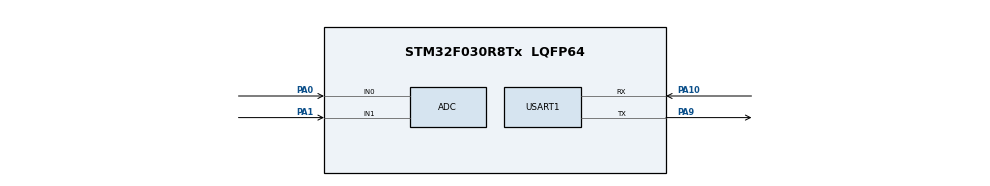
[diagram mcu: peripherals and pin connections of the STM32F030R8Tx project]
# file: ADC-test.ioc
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ADC.EOCSelection=ADC_EOC_SINGLE_CONV
ADC.SamplingTime=ADC_SAMPLETIME_41CYCLES_5
Mcu.Family=STM32F0
Mcu.Name=STM32F030R8Tx
Mcu.Package=LQFP64
PA0.Mode=IN0
PA0.Signal=ADC_IN0
PA1.Mode=IN1
PA1.Signal=ADC_IN1
PA10.Mode=Asynchronous
PA10.Signal=USART1_RX
PA13.Mode=Serial_Wire
PA13.Signal=SYS_SWDIO
PA14.Mode=Serial_Wire
PA14.Signal=SYS_SWCLK
PA9.Mode=Asynchronous
PA9.Signal=USART1_TX
ProjectManager.HeapSize=0x200
ProjectManager.StackSize=0x400
ProjectManager.TargetToolchain=SW4STM32
USART1.OverrunDisableParam=UART_ADVFEATURE_OVERRUN_DISABLE
USART1.VirtualMode-Asynchronous=VM_ASYNC
VP_ADC_TempSens_Input.Mode=IN-TempSens
board=ADC-test

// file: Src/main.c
/**
  ******************************************************************************
  * File Name          : main.c
  * Description        : Main program body
  ******************************************************************************
  *
  * COPYRIGHT(c) 2017 STMicroelectronics
  *
  * Redistribution and use in source and binary forms, with or without modification,
  * are permitted provided that the following conditions are met:
  *   1. Redistributions of source code must retain the above copyright notice,
  *      this list of conditions and the following disclaimer.
  *   2. Redistributions in binary form must reproduce the above copyright notice,
  *      this list of conditions and the following disclaimer in the documentation
  *      and/or other materials provided with the distribution.
  *   3. Neither the name of STMicroelectronics nor the names of its contributors
  *      may be used to endorse or promote products derived from this software
  *      without specific prior written permission.
  *
  * THIS SOFTWARE IS PROVIDED BY THE COPYRIGHT HOLDERS AND CONTRIBUTORS "AS IS"
  * AND ANY EXPRESS OR IMPLIED WARRANTIES, INCLUDING, BUT NOT LIMITED TO, THE
  * IMPLIED WARRANTIES OF MERCHANTABILITY AND FITNESS FOR A PARTICULAR PURPOSE ARE
  * DISCLAIMED. IN NO EVENT SHALL THE COPYRIGHT HOLDER OR CONTRIBUTORS BE LIABLE
  * FOR ANY DIRECT, INDIRECT, INCIDENTAL, SPECIAL, EXEMPLARY, OR CONSEQUENTIAL
  * DAMAGES (INCLUDING, BUT NOT LIMITED TO, PROCUREMENT OF SUBSTITUTE GOODS OR
  * SERVICES; LOSS OF USE, DATA, OR PROFITS; OR BUSINESS INTERRUPTION) HOWEVER
  * CAUSED AND ON ANY THEORY OF LIABILITY, WHETHER IN CONTRACT, STRICT LIABILITY,
  * OR TORT (INCLUDING NEGLIGENCE OR OTHERWISE) ARISING IN ANY WAY OUT OF THE USE
  * OF THIS SOFTWARE, EVEN IF ADVISED OF THE POSSIBILITY OF SUCH DAMAGE.
  *
  ******************************************************************************
  */
#include "main.h"
#include "stm32f0xx_hal.h"

/* USER CODE BEGIN Includes */
#include <stdio.h>
#include <string.h>

/* USER CODE END Includes */

ADC_HandleTypeDef hadc;

UART_HandleTypeDef huart1;

/* USER CODE BEGIN PV */
/* Private variables ---------------------------------------------------------*/
char strbuf[100];

/* USER CODE END PV */

void SystemClock_Config(void);
void Error_Handler(void);
static void MX_GPIO_Init(void);
static void MX_ADC_Init(void);
static void MX_USART1_UART_Init(void);

/* USER CODE BEGIN PFP */
/* Private function prototypes -----------------------------------------------*/
#ifdef __GNUC__
  /* With GCC/RAISONANCE, small printf (option LD Linker->Libraries->Small printf
     set to 'Yes') calls __io_putchar() */
  #define PUTCHAR_PROTOTYPE int __io_putchar(int ch)
#else
  #define PUTCHAR_PROTOTYPE int fputc(int ch, FILE *f)
#endif /* __GNUC__ */

/**
  * @brief  Retargets the C library printf function to the USART.
  * @param  None
  * @retval None
  */
PUTCHAR_PROTOTYPE
{
	/* Place your implementation of fputc here */
	/* e.g. write a character to the USART */
	HAL_UART_Transmit(&huart1, (uint8_t *)&ch, 1, 100);

	return ch;
}

/* USER CODE END PFP */

int main(void)
{

  /* MCU Configuration----------------------------------------------------------*/

  /* Reset of all peripherals, Initializes the Flash interface and the Systick. */
  HAL_Init();

  /* Configure the system clock */
  SystemClock_Config();

  /* Initialize all configured peripherals */
  MX_GPIO_Init();
  MX_ADC_Init();
  MX_USART1_UART_Init();

  /* USER CODE BEGIN 2 */
  char ch;
  ch = 'x';
  HAL_UART_Transmit(&huart1, (uint8_t *)&ch, 1, 100);

  sprintf(strbuf,"Hello\n");

  uint32_t adcvals[5];
  HAL_ADC_Start(&hadc);

  /* USER CODE END 2 */

  /* Infinite loop */
  while (1)
  {

  /* USER CODE BEGIN 3 */
  	HAL_ADC_Start(&hadc);
	for (int i=0;i<3;i++){
		while(HAL_IS_BIT_CLR(hadc.Instance->ISR, (ADC_FLAG_EOC|ADC_FLAG_EOS))){}
		adcvals[i] = hadc.Instance->DR;
	}
	for (int i=0;i<5;i++){
		sprintf(strbuf,"i:%d,adc:%4d	",i,adcvals[i]);
		HAL_UART_Transmit(&huart1,strbuf,strlen(strbuf),1000);
	}

	sprintf(strbuf,"\n");
	HAL_UART_Transmit(&huart1,strbuf,strlen(strbuf),1000);
	HAL_Delay(1000);

  }
  /* USER CODE END 3 */

}

/** System Clock Configuration
*/
void SystemClock_Config(void)
{

  RCC_OscInitTypeDef RCC_OscInitStruct;
  RCC_ClkInitTypeDef RCC_ClkInitStruct;
  RCC_PeriphCLKInitTypeDef PeriphClkInit;

    /**Initializes the CPU, AHB and APB busses clocks
    */
  RCC_OscInitStruct.OscillatorType = RCC_OSCILLATORTYPE_HSI|RCC_OSCILLATORTYPE_HSI14;
  RCC_OscInitStruct.HSIState = RCC_HSI_ON;
  RCC_OscInitStruct.HSI14State = RCC_HSI14_ON;
  RCC_OscInitStruct.HSICalibrationValue = 16;
  RCC_OscInitStruct.HSI14CalibrationValue = 16;
  RCC_OscInitStruct.PLL.PLLState = RCC_PLL_NONE;
  if (HAL_RCC_OscConfig(&RCC_OscInitStruct) != HAL_OK)
  {
    Error_Handler();
  }

    /**Initializes the CPU, AHB and APB busses clocks
    */
  RCC_ClkInitStruct.ClockType = RCC_CLOCKTYPE_HCLK|RCC_CLOCKTYPE_SYSCLK
                              |RCC_CLOCKTYPE_PCLK1;
  RCC_ClkInitStruct.SYSCLKSource = RCC_SYSCLKSOURCE_HSI;
  RCC_ClkInitStruct.AHBCLKDivider = RCC_SYSCLK_DIV1;
  RCC_ClkInitStruct.APB1CLKDivider = RCC_HCLK_DIV1;

  if (HAL_RCC_ClockConfig(&RCC_ClkInitStruct, FLASH_LATENCY_0) != HAL_OK)
  {
    Error_Handler();
  }

  PeriphClkInit.PeriphClockSelection = RCC_PERIPHCLK_USART1;
  PeriphClkInit.Usart1ClockSelection = RCC_USART1CLKSOURCE_PCLK1;
  if (HAL_RCCEx_PeriphCLKConfig(&PeriphClkInit) != HAL_OK)
  {
    Error_Handler();
  }

    /**Configure the Systick interrupt time
    */
  HAL_SYSTICK_Config(HAL_RCC_GetHCLKFreq()/1000);

    /**Configure the Systick
    */
  HAL_SYSTICK_CLKSourceConfig(SYSTICK_CLKSOURCE_HCLK);

  /* SysTick_IRQn interrupt configuration */
  HAL_NVIC_SetPriority(SysTick_IRQn, 0, 0);
}

/* ADC init function */
static void MX_ADC_Init(void)
{

  ADC_ChannelConfTypeDef sConfig;

    /**Configure the global features of the ADC (Clock, Resolution, Data Alignment and number of conversion)
    */
  hadc.Instance = ADC1;
  hadc.Init.ClockPrescaler = ADC_CLOCK_ASYNC_DIV1;
  hadc.Init.Resolution = ADC_RESOLUTION_12B;
  hadc.Init.DataAlign = ADC_DATAALIGN_RIGHT;
  hadc.Init.ScanConvMode = ADC_SCAN_DIRECTION_FORWARD;
  hadc.Init.EOCSelection = ADC_EOC_SINGLE_CONV;
  hadc.Init.LowPowerAutoWait = DISABLE;
  hadc.Init.LowPowerAutoPowerOff = DISABLE;
  hadc.Init.ContinuousConvMode = DISABLE;
  hadc.Init.DiscontinuousConvMode = DISABLE;
  hadc.Init.ExternalTrigConv = ADC_SOFTWARE_START;
  hadc.Init.ExternalTrigConvEdge = ADC_EXTERNALTRIGCONVEDGE_NONE;
  hadc.Init.DMAContinuousRequests = DISABLE;
  hadc.Init.Overrun = ADC_OVR_DATA_PRESERVED;
  if (HAL_ADC_Init(&hadc) != HAL_OK)
  {
    Error_Handler();
  }

    /**Configure for the selected ADC regular channel to be converted.
    */
  sConfig.Channel = ADC_CHANNEL_0;
  sConfig.Rank = ADC_RANK_CHANNEL_NUMBER;
  sConfig.SamplingTime = ADC_SAMPLETIME_41CYCLES_5;
  if (HAL_ADC_ConfigChannel(&hadc, &sConfig) != HAL_OK)
  {
    Error_Handler();
  }

    /**Configure for the selected ADC regular channel to be converted.
    */
  sConfig.Channel = ADC_CHANNEL_1;
  if (HAL_ADC_ConfigChannel(&hadc, &sConfig) != HAL_OK)
  {
    Error_Handler();
  }

    /**Configure for the selected ADC regular channel to be converted.
    */
  sConfig.Channel = ADC_CHANNEL_TEMPSENSOR;
  if (HAL_ADC_ConfigChannel(&hadc, &sConfig) != HAL_OK)
  {
    Error_Handler();
  }

}

/* USART1 init function */
static void MX_USART1_UART_Init(void)
{

  huart1.Instance = USART1;
  huart1.Init.BaudRate = 38400;
  huart1.Init.WordLength = UART_WORDLENGTH_8B;
  huart1.Init.StopBits = UART_STOPBITS_1;
  huart1.Init.Parity = UART_PARITY_NONE;
  huart1.Init.Mode = UART_MODE_TX_RX;
  huart1.Init.HwFlowCtl = UART_HWCONTROL_NONE;
  huart1.Init.OverSampling = UART_OVERSAMPLING_16;
  huart1.Init.OneBitSampling = UART_ONE_BIT_SAMPLE_DISABLE;
  huart1.AdvancedInit.AdvFeatureInit = UART_ADVFEATURE_RXOVERRUNDISABLE_INIT;
  huart1.AdvancedInit.OverrunDisable = UART_ADVFEATURE_OVERRUN_DISABLE;
  if (HAL_UART_Init(&huart1) != HAL_OK)
  {
    Error_Handler();
  }

}

/** Configure pins as
        * Analog
        * Input
        * Output
        * EVENT_OUT
        * EXTI
*/
static void MX_GPIO_Init(void)
{

  /* GPIO Ports Clock Enable */
  __HAL_RCC_GPIOA_CLK_ENABLE();

}

void Error_Handler(void)
{
  while(1)
  {
  }
}

/************************ (C) COPYRIGHT STMicroelectronics *****END OF FILE****/
